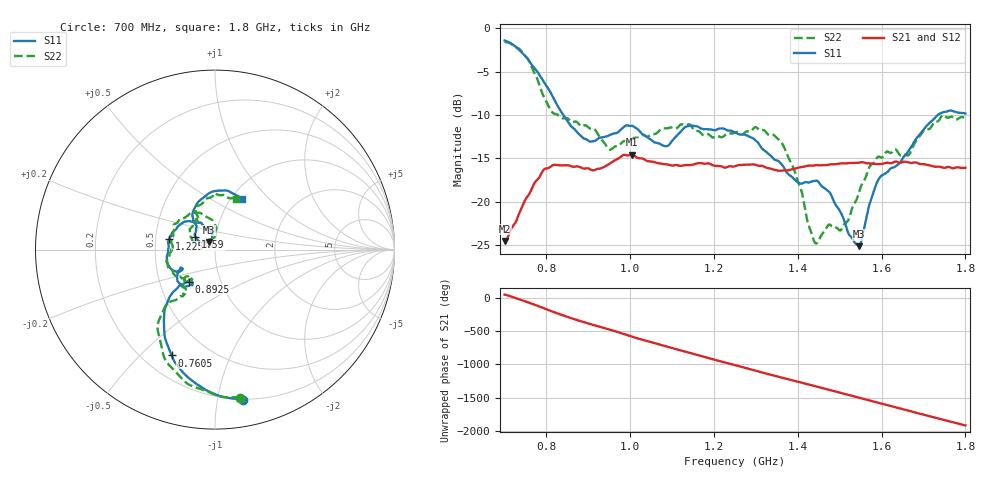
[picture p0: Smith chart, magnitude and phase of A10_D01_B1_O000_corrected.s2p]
! Created with skrf 1.9.0 (http://scikit-rf.org).
# Hz S RI R 50.0
!freq ReS11 ImS11 ReS21 ImS21 ReS12 ImS12 ReS22 ImS22
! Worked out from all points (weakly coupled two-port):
!   1601 points, 700 MHz to 1.8 GHz, reference 50 ohm
!   highest |S21| = -14.58 dB at 1.004 GHz (marker M1); lowest = -24.5 dB at 700 MHz (marker M2)
!   lowest |S11| = -25.1 dB at 1.546 GHz (marker M3), VSWR 1.12, Z = 46.5 + j4 ohm
!   |S11| at or under -10 dB: 839.9 MHz to 1.734 GHz (894.1 MHz wide, 69.5 % of centre)
!   |S22| runs from -24.8 to -1.5 dB; largest |S21 - S12| = 0.0038
!   S11 on the Smith chart (normalised r, x): 700 MHz: 0.20, -1.19; 760.5 MHz: 0.31, -0.62; 892.5 MHz: 0.71, -0.27; 1.225 GHz: 0.59, +0.07; 1.59 GHz: 0.80, +0.12; 1.8 GHz: 1.12, +0.71
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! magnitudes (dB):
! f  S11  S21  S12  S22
! 700 MHz  -1.4  -24.5  -24.3  -1.5
! 760.5 MHz  -3.9  -19.0  -18.8  -4.0
! 812.8 MHz  -7.7  -15.9  -15.8  -9.6
! 883.6 MHz  -12.5  -16.1  -16.0  -11.3
! 892.5 MHz  -12.8  -16.2  -16.2  -11.2
! 950.9 MHz  -12.3  -15.6  -15.6  -14.0
! 1.004 GHz  -11.3  -14.6  -14.7  -12.8
! 1.067 GHz  -13.3  -15.6  -15.5  -11.9
! 1.139 GHz  -11.3  -15.8  -15.7  -11.1
! 1.225 GHz  -11.6  -16.1  -16.0  -12.4
! 1.25 GHz  -12.0  -15.9  -15.8  -12.0
! 1.3 GHz  -13.0  -15.8  -15.8  -11.4
! 1.36 GHz  -15.6  -16.4  -16.4  -13.1
! 1.405 GHz  -17.9  -16.0  -16.0  -18.3
! 1.434 GHz  -17.7  -15.9  -15.8  -23.8
! 1.504 GHz  -21.4  -15.6  -15.6  -23.2
! 1.546 GHz  -25.1  -15.5  -15.5  -18.9
! 1.59 GHz  -17.7  -15.7  -15.7  -14.9
! 1.617 GHz  -16.4  -15.5  -15.5  -14.3
! 1.664 GHz  -14.2  -15.5  -15.5  -14.6
! 1.735 GHz  -9.9  -16.0  -16.0  -10.7
! 1.8 GHz  -9.8  -16.1  -16.1  -10.3
